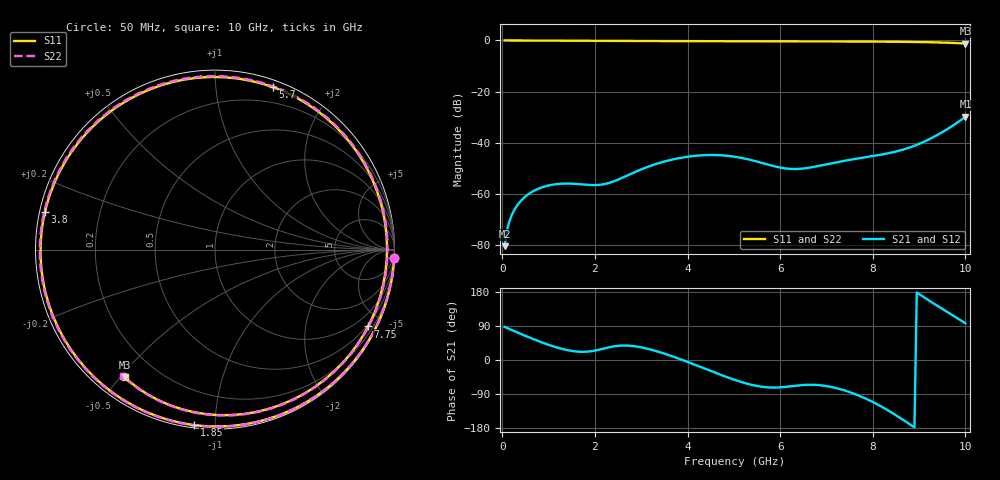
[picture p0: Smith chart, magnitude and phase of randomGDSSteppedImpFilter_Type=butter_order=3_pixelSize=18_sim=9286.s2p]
! freq	dB(S11)	phase(S11)	dB(S12)	phase(S12)
!  dB(S21)	phase(S21)	dB(S22)	phase(S22)
!S-par simulation data
#  GHz  S  DB  R 50
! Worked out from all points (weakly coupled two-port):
!   200 points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, 50 MHz to 10 GHz, reference 50 ohm
!   highest |S21| = -29.84 dB at 10 GHz (marker M1); lowest = -80.5 dB at 50 MHz (marker M2)
!   lowest |S11| = -1.2 dB at 10 GHz (marker M3), VSWR 14.58, Z = 4.34 - j25.7 ohm
!   |S11| at or under -10 dB: nowhere
!   |S22| runs from -1.2 to 0.0 dB; largest |S21 - S12| = 0
!   S11 on the Smith chart (normalised r, x): 50 MHz: 0, -42; 1.85 GHz: 0.01, -0.89; 3.8 GHz: 0.02, +0.11; 5.7 GHz: 0.06, +1.41; 7.75 GHz: 0.43, -4.18; 10 GHz: 0.09, -0.51
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0.05  -0.00 -2.7  -80.48 87.3  -80.48 87.3  -0.00 -2.7
0.1  -0.01 -5.4  -74.48 84.7  -74.48 84.7  -0.01 -5.4
0.2  -0.02 -10.8  -68.52 79.3  -68.52 79.3  -0.02 -10.8
0.35  -0.03 -18.9  -63.85 71.4  -63.85 71.4  -0.03 -18.9
0.55  -0.04 -29.5  -60.33 61.1  -60.33 61.1  -0.04 -29.5
1.15  -0.08 -61.1  -56.24 34.1  -56.24 34.1  -0.08 -61.1
1.75  -0.13 -91.7  -56.36 21.6  -56.36 21.6  -0.11 -91.7
1.85  -0.14 -96.7  -56.50 22.2  -56.50 22.2  -0.12 -96.8
2.25  -0.16 -116.5  -56.03 31.9  -56.03 31.9  -0.14 -116.6
2.7  -0.19 -138.6  -52.83 38.1  -52.83 38.1  -0.17 -138.6
3.4  -0.24 -172.7  -47.88 20.7  -47.88 20.7  -0.20 -172.8
3.8  -0.26 167.6  -46.10 4.1  -46.10 4.1  -0.22 167.4
4.4  -0.30 137.5  -44.84 -24.0  -44.84 -24.0  -0.26 137.2
5.05  -0.33 104.1  -45.58 -53.8  -45.58 -53.8  -0.29 103.8
5.7  -0.35 70.4  -48.39 -71.9  -48.39 -71.9  -0.31 70.1
6.25  -0.36 42.6  -50.27 -69.0  -50.27 -69.0  -0.32 42.2
6.7  -0.36 20.6  -49.55 -65.3  -49.55 -65.3  -0.33 20.3
7.2  -0.37 -2.6  -47.73 -73.9  -47.73 -73.9  -0.34 -2.9
7.75  -0.41 -26.7  -45.96 -96.6  -45.96 -96.6  -0.38 -27.0
8.35  -0.48 -51.5  -44.08 -134.4  -44.08 -134.4  -0.46 -51.8
9.25  -0.70 -88.5  -38.36 154.2  -38.36 154.2  -0.69 -88.9
10  -1.19 -125.3  -29.84 96.8  -29.84 96.8  -1.18 -125.9
